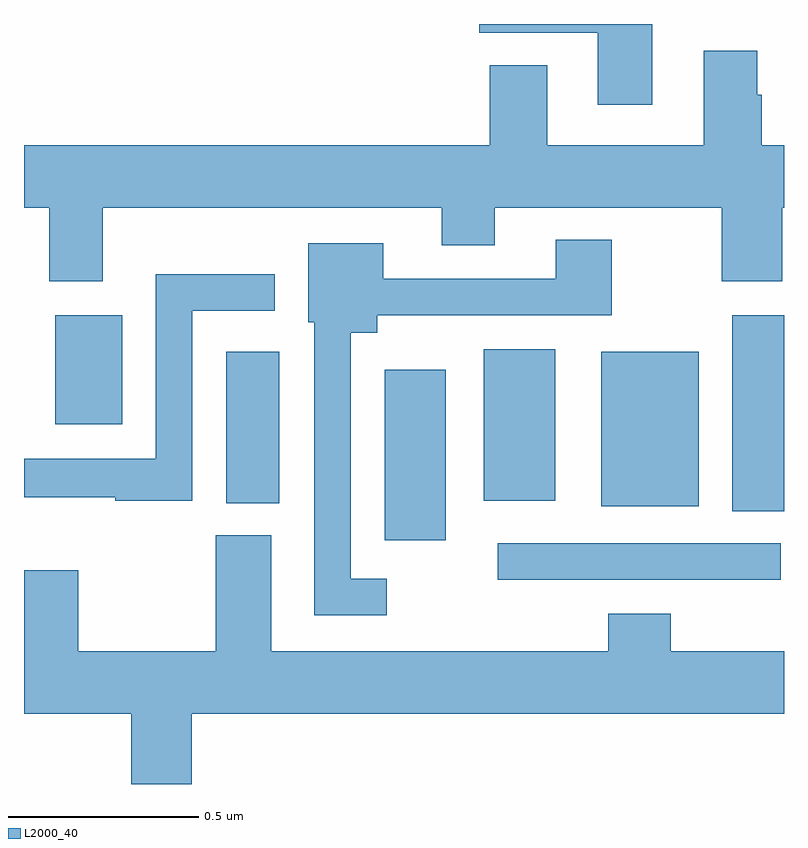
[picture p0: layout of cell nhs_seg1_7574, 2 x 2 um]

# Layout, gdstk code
import gdstk
lib = gdstk.Library(unit=1e-6, precision=1e-09)
def R(c, l, rs):  # rectangles x0, y0, x1, y1
    for r in rs: c.add(gdstk.rectangle(r[:2], r[2:], *l))
def P(c, l, *ps):  # polygons
    for p in ps: c.add(gdstk.Polygon(p, *l))
L2000_40 = (2000, 40)

nhs_seg1_7574 = lib.new_cell('nhs_seg1_7574')
R(nhs_seg1_7574, L2000_40, [(206.247,566.736,206.992,566.832), (205.949,566.841,206.11,567.289), (206.864,566.917,207,567.433), (206.519,566.93,206.776,567.337), (205.532,566.938,205.672,567.337), (206.21,566.945,206.398,567.343), (205.082,567.146,205.258,567.433)])
P(nhs_seg1_7574, L2000_40, [(206.653,568.199),(206.198,568.199),(206.198,568.176),(206.51,568.176),(206.51,567.987),(206.653,567.987)],
  [(205.207,567.716),(206.099,567.716),(206.099,567.617),(206.239,567.617),(206.239,567.716),(206.836,567.716),(206.836,567.522),(206.996,567.522),(206.996,567.716),(207,567.716),(207,567.88),(206.942,567.88),(206.942,568.013),(206.929,568.013),(206.929,568.129),(206.789,568.129),(206.789,567.88),(206.377,567.88),(206.377,568.091),(206.225,568.091),(206.225,567.88),(205,567.88),(205,567.716),(205.067,567.716),(205.067,567.522),(205.207,567.522)],
  [(205.954,566.739),(205.86,566.739),(205.86,567.386),(205.93,567.386),(205.93,567.432),(206.547,567.432),(206.547,567.631),(206.399,567.631),(206.399,567.528),(205.945,567.528),(205.945,567.622),(205.748,567.622),(205.748,567.414),(205.764,567.414),(205.764,566.643),(205.954,566.643)],
  [(205.443,567.444),(205.66,567.444),(205.66,567.541),(205.347,567.541),(205.347,567.055),(205,567.055),(205,566.954),(205.24,566.954),(205.24,566.944),(205.443,566.944)],
  [(205.442,566.384),(207,566.384),(207,566.548),(206.702,566.548),(206.702,566.647),(206.537,566.647),(206.537,566.548),(205.651,566.548),(205.651,566.853),(205.504,566.853),(205.504,566.548),(205.143,566.548),(205.143,566.761),(205,566.761),(205,566.384),(205.282,566.384),(205.282,566.199),(205.442,566.199)])

lib.write_gds('nhs_seg1_7574.gds')
